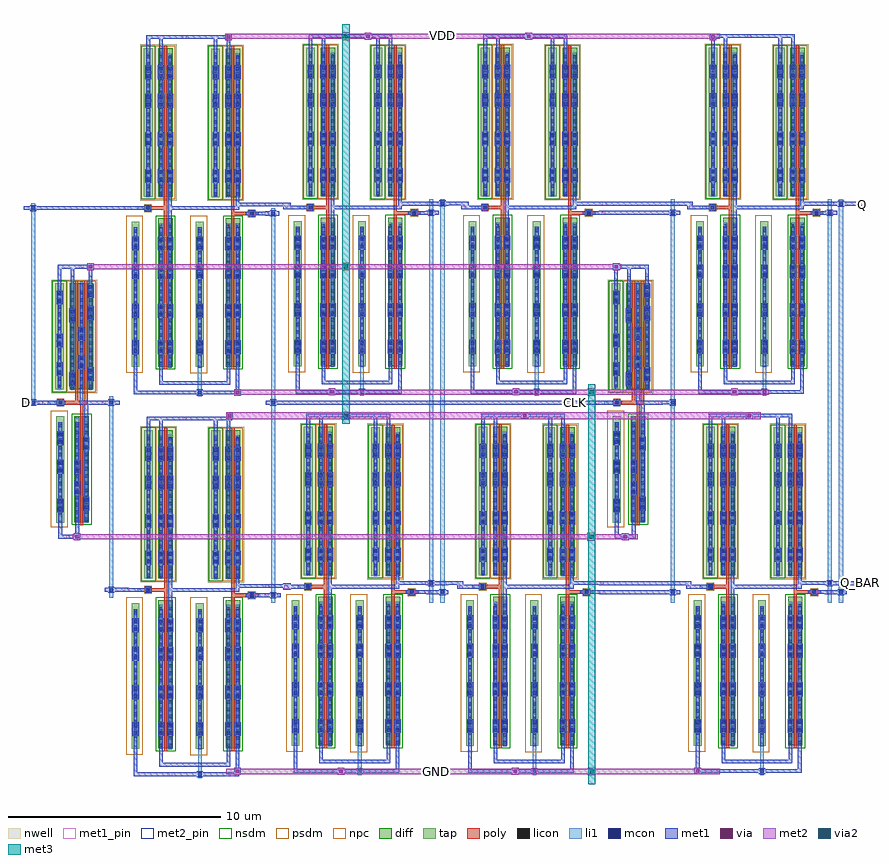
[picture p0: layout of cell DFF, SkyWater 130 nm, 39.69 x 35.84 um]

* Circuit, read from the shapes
.subckt DFF CLK D GND Q Q_BAR VDD
XM1 NAND_9/INP1 D GND GND sky130_fd_pr__nfet_01v8 w=5 l=0.15
XM2 NAND_6/INP1 D n1 GND sky130_fd_pr__nfet_01v8 w=7 l=0.15
XM3 NAND_8/INP1 NAND_9/INP1 n2 GND sky130_fd_pr__nfet_01v8 w=7 l=0.15
XM4 GND CLK n1 GND sky130_fd_pr__nfet_01v8 w=7 l=0.15
XM5 GND CLK n2 GND sky130_fd_pr__nfet_01v8 w=7 l=0.15
XM6 NAND_4/INP1 NAND_8/INP1 n3 GND sky130_fd_pr__nfet_01v8 w=7 l=0.15
XM7 NAND_5/INP1 NAND_6/INP1 n4 GND sky130_fd_pr__nfet_01v8 w=7 l=0.15
XM8 GND NAND_5/INP1 n3 GND sky130_fd_pr__nfet_01v8 w=7 l=0.15
XM9 GND NAND_4/INP1 n4 GND sky130_fd_pr__nfet_01v8 w=7 l=0.15
XM10 NAND_2/INP1 NAND_4/INP1 n5 GND sky130_fd_pr__nfet_01v8 w=7 l=0.15
XM11 NAND_3/INP1 NAND_5/INP1 n6 GND sky130_fd_pr__nfet_01v8 w=7 l=0.15
XM12 GND NAND_4/INP2 n5 GND sky130_fd_pr__nfet_01v8 w=7 l=0.15
XM13 GND NAND_4/INP2 n6 GND sky130_fd_pr__nfet_01v8 w=7 l=0.15
XM14 NAND_4/INP2 CLK GND GND sky130_fd_pr__nfet_01v8 w=5 l=0.15
XM15 Q_BAR NAND_2/INP1 n7 GND sky130_fd_pr__nfet_01v8 w=7 l=0.15
XM16 Q NAND_3/INP1 n8 GND sky130_fd_pr__nfet_01v8 w=7 l=0.15
XM17 GND Q n7 GND sky130_fd_pr__nfet_01v8 w=7 l=0.15
XM18 GND Q_BAR n8 GND sky130_fd_pr__nfet_01v8 w=7 l=0.15
XM19 NAND_9/INP1 D VDD VDD sky130_fd_pr__pfet_01v8 w=5 l=0.15 m=2
XM20 NAND_6/INP1 D VDD VDD sky130_fd_pr__pfet_01v8 w=7 l=0.15
XM21 NAND_8/INP1 NAND_9/INP1 VDD VDD sky130_fd_pr__pfet_01v8 w=7 l=0.15
XM22 NAND_6/INP1 CLK VDD VDD sky130_fd_pr__pfet_01v8 w=7 l=0.15
XM23 NAND_8/INP1 CLK VDD VDD sky130_fd_pr__pfet_01v8 w=7 l=0.15
XM24 NAND_4/INP1 NAND_8/INP1 VDD VDD sky130_fd_pr__pfet_01v8 w=7 l=0.15
XM25 NAND_5/INP1 NAND_6/INP1 VDD VDD sky130_fd_pr__pfet_01v8 w=7 l=0.15
XM26 NAND_4/INP1 NAND_5/INP1 VDD VDD sky130_fd_pr__pfet_01v8 w=7 l=0.15
XM27 NAND_5/INP1 NAND_4/INP1 VDD VDD sky130_fd_pr__pfet_01v8 w=7 l=0.15
XM28 NAND_2/INP1 NAND_4/INP1 VDD VDD sky130_fd_pr__pfet_01v8 w=7 l=0.15
XM29 NAND_3/INP1 NAND_5/INP1 VDD VDD sky130_fd_pr__pfet_01v8 w=7 l=0.15
XM30 NAND_2/INP1 NAND_4/INP2 VDD VDD sky130_fd_pr__pfet_01v8 w=7 l=0.15
XM31 NAND_3/INP1 NAND_4/INP2 VDD VDD sky130_fd_pr__pfet_01v8 w=7 l=0.15
XM32 NAND_4/INP2 CLK VDD VDD sky130_fd_pr__pfet_01v8 w=5 l=0.15 m=2
XM33 Q_BAR NAND_2/INP1 VDD VDD sky130_fd_pr__pfet_01v8 w=7 l=0.15
XM34 Q NAND_3/INP1 VDD VDD sky130_fd_pr__pfet_01v8 w=7 l=0.15
XM35 Q_BAR Q VDD VDD sky130_fd_pr__pfet_01v8 w=7 l=0.15
XM36 Q Q_BAR VDD VDD sky130_fd_pr__pfet_01v8 w=7 l=0.15
.ends

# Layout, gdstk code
from math import pi, radians
import gdstk
lib = gdstk.Library(unit=1e-6, precision=1e-09)
def R(c, l, rs):  # rectangles x0, y0, x1, y1
    for r in rs: c.add(gdstk.rectangle(r[:2], r[2:], *l))
def A(c, l, x, y, w, h, nx, ny, dx, dy):  # array of equal rectangles
    R(c, l, [(x+i*dx, y+j*dy, x+i*dx+w, y+j*dy+h) for i in range(nx) for j in range(ny)])
nwell = (64, 20)
diff = (65, 20)
tap = (65, 44)
poly = (66, 20)
licon = (66, 44)
li1 = (67, 20)
mcon = (67, 44)
met1_pin = (68, 16)
met1 = (68, 20)
via = (68, 44)
met2_pin = (69, 16)
met2 = (69, 20)
via2 = (69, 44)
met3 = (70, 20)
nsdm = (93, 44)
psdm = (94, 20)
npc = (95, 20)

dfl1sd_cdns_599788155192 = lib.new_cell('DFL1sd_CDNS_599788155192')
R(dfl1sd_cdns_599788155192, diff, [(0,0,0.265,5)])
A(dfl1sd_cdns_599788155192, licon, 0.055, 0.06, 0.17, 0.17, 1, 14, 0, 0.34)
R(dfl1sd_cdns_599788155192, li1, [(0.055,-0.02,0.225,4.73)])
R(dfl1sd_cdns_599788155192, nsdm, [(-0.125,-0.125,0.39,5.125)])

nfet_symbolic_cdns_59978 = lib.new_cell('nfet_symbolic_CDNS_599788155191')
R(nfet_symbolic_cdns_59978, diff, [(-0.25,0,0,5), (0,0,0.15,5), (0.15,0,0.4,5)])
R(nfet_symbolic_cdns_59978, poly, [(0,-0.13,0.15,5.13), (0,-0.13,0.15,0), (0,5,0.15,5.13)])
R(nfet_symbolic_cdns_59978, li1, [(-0.225,-0.02,-0.055,4.73), (0.205,-0.02,0.375,4.73)])
R(nfet_symbolic_cdns_59978, nsdm, [(-0.25,-0.125,0.4,5.125)])
nfet_symbolic_cdns_59978.add(gdstk.Reference(dfl1sd_cdns_599788155192, (0.15,0)))
nfet_symbolic_cdns_59978.add(gdstk.Reference(dfl1sd_cdns_599788155192, (0,0), rotation=pi, x_reflection=True))
nfet_symbolic_cdns_59978.add(gdstk.Label('D', (0.29,2.355), layer=83, texttype=44))
nfet_symbolic_cdns_59978.add(gdstk.Label('S', (-0.14,2.355), layer=83, texttype=44))

nfet_cdns_599788155190 = lib.new_cell('nfet_CDNS_599788155190')
nfet_cdns_599788155190.add(gdstk.Reference(nfet_symbolic_cdns_59978, (0,0)))

dfl1sd_cdns_599788155195 = lib.new_cell('DFL1sd_CDNS_599788155195')
R(dfl1sd_cdns_599788155195, nwell, [(-0.18,-0.18,0.445,5.18)])
R(dfl1sd_cdns_599788155195, diff, [(0,0,0.265,5)])
A(dfl1sd_cdns_599788155195, licon, 0.055, 0.06, 0.17, 0.17, 1, 14, 0, 0.34)
R(dfl1sd_cdns_599788155195, li1, [(0.055,-0.02,0.225,4.73)])
R(dfl1sd_cdns_599788155195, psdm, [(-0.125,-0.125,0.39,5.125)])

dfl1sd2_cdns_59978815519 = lib.new_cell('DFL1sd2_CDNS_599788155196')
R(dfl1sd2_cdns_59978815519, nwell, [(-0.18,-0.18,0.46,5.18)])
R(dfl1sd2_cdns_59978815519, diff, [(0,0,0.28,5)])
A(dfl1sd2_cdns_59978815519, licon, 0.055, 0.06, 0.17, 0.17, 1, 14, 0, 0.34)
R(dfl1sd2_cdns_59978815519, li1, [(0.055,-0.02,0.225,4.73)])
R(dfl1sd2_cdns_59978815519, psdm, [(-0.125,-0.125,0.405,5.125)])

pfet_symbolic_cdns_59978 = lib.new_cell('pfet_symbolic_CDNS_599788155194')
R(pfet_symbolic_cdns_59978, nwell, [(-0.445,-0.18,1.025,5.18)])
R(pfet_symbolic_cdns_59978, diff, [(-0.25,0,0,5), (0,0,0.15,5), (0.43,0,0.58,5), (0.58,0,0.83,5)])
R(pfet_symbolic_cdns_59978, poly, [(0,-0.13,0.15,5.13), (0,-0.13,0.15,0), (0.43,-0.13,0.58,5.13), (0.43,-0.13,0.58,0), (0,5,0.15,5.13), (0.43,5,0.58,5.13)])
A(pfet_symbolic_cdns_59978, li1, -0.225, -0.02, 0.17, 4.75, 3, 1, 0.43, 0)
R(pfet_symbolic_cdns_59978, psdm, [(-0.25,-0.125,0.15,5.125), (0.18,-0.125,0.83,5.125)])
pfet_symbolic_cdns_59978.add(gdstk.Reference(dfl1sd_cdns_599788155195, (0.58,0)))
pfet_symbolic_cdns_59978.add(gdstk.Reference(dfl1sd_cdns_599788155195, (0,0), rotation=pi, x_reflection=True))
pfet_symbolic_cdns_59978.add(gdstk.Reference(dfl1sd2_cdns_59978815519, (0.15,0)))
pfet_symbolic_cdns_59978.add(gdstk.Label('S', (0.72,2.355), layer=83, texttype=44))
pfet_symbolic_cdns_59978.add(gdstk.Label('D', (0.29,2.355), layer=83, texttype=44))
pfet_symbolic_cdns_59978.add(gdstk.Label('S', (-0.14,2.355), layer=83, texttype=44))

pfet_cdns_599788155193 = lib.new_cell('pfet_CDNS_599788155193')
R(pfet_cdns_599788155193, nwell, [(-1.125,-0.18,-0.445,5.18)])
R(pfet_cdns_599788155193, tap, [(-0.945,0,-0.535,5)])
A(pfet_cdns_599788155193, licon, -0.825, 0.06, 0.17, 0.17, 1, 14, 0, 0.34)
R(pfet_cdns_599788155193, li1, [(-0.825,-0.02,-0.655,4.73)])
R(pfet_cdns_599788155193, nsdm, [(-1.08,-0.125,-0.4,5.125)])
R(pfet_cdns_599788155193, psdm, [(-0.4,-0.125,-0.39,5.125)])
pfet_cdns_599788155193.add(gdstk.Reference(pfet_symbolic_cdns_59978, (0,0)))

l1m1_c_cdns_599788155190 = lib.new_cell('L1M1_C_CDNS_599788155190')
R(l1m1_c_cdns_599788155190, li1, [(-0.085,-0.085,0.085,0.085)])
R(l1m1_c_cdns_599788155190, mcon, [(-0.085,-0.085,0.085,0.085)])
R(l1m1_c_cdns_599788155190, met1, [(-0.145,-0.145,0.145,0.145)])

l1m1_c_cdns_599788155193 = lib.new_cell('L1M1_C_CDNS_599788155193')
R(l1m1_c_cdns_599788155193, li1, [(-0.085,-0.265,0.085,0.265)])
R(l1m1_c_cdns_599788155193, mcon, [(-0.085,-0.265,0.085,-0.095), (-0.085,0.095,0.085,0.265)])
R(l1m1_c_cdns_599788155193, met1, [(-0.145,-0.325,0.145,0.325)])

pyl1_c_cdns_599788155194 = lib.new_cell('PYL1_C_CDNS_599788155194')
R(pyl1_c_cdns_599788155194, poly, [(-0.165,-0.165,0.165,0.165)])
R(pyl1_c_cdns_599788155194, licon, [(-0.085,-0.085,0.085,0.085)])
R(pyl1_c_cdns_599788155194, li1, [(-0.165,-0.165,0.165,0.165)])
R(pyl1_c_cdns_599788155194, npc, [(-0.185,-0.185,0.185,0.185)])

inverter0 = lib.new_cell('Inverter0')
R(inverter0, tap, [(2.02,1.48,2.385,6.48)])
R(inverter0, poly, [(3.14,6.62,3.29,7.23), (2.005,7.035,3.495,7.23), (2.915,7.035,3.065,7.625), (3.345,7.035,3.495,7.625), (3.345,7.23,3.495,7.625)])
A(inverter0, licon, 2.12, 1.88, 0.17, 0.17, 1, 13, 0, 0.34)
R(inverter0, li1, [(2.12,1.505,2.29,6.21), (2.92,5.685,3.09,6.45), (3.34,5.685,3.51,6.45), (3.345,6.22,3.515,6.45), (1.615,7.035,2.435,7.23), (2.69,12.32,2.86,13.085), (3.115,12.32,3.285,12.83), (3.55,12.32,3.72,13.085)])
R(inverter0, met1_pin, [(2.485,0.725,2.65,0.885), (4.165,7.04,4.35,7.225), (1.19,7.05,1.385,7.225), (3.08,13.465,3.305,13.64)])
R(inverter0, met1, [(2.12,0.71,2.29,6.21), (2.12,0.71,3.09,0.905), (2.915,0.71,3.09,6.21), (3.345,1.51,3.515,7.23), (1.185,7.035,2.435,7.23), (3.12,7.035,4.37,7.23), (3.12,7.035,3.29,12.755), (2.69,7.73,2.86,13.645), (3.55,7.735,3.72,13.645), (2.09,7.875,2.26,13.645), (2.09,13.45,3.72,13.645)])
R(inverter0, psdm, [(1.765,1.265,2.555,6.76)])
inverter0.add(gdstk.Reference(nfet_cdns_599788155190, (3.14,1.49)))
inverter0.add(gdstk.Reference(pfet_cdns_599788155193, (2.915,7.755)))
inverter0.add(gdstk.Reference(l1m1_c_cdns_599788155190, (2.215,7.135)))
inverter0.add(gdstk.Reference(l1m1_c_cdns_599788155193, (2.175,12.09)))
inverter0.add(gdstk.Reference(l1m1_c_cdns_599788155193, (2.175,10.065)))
inverter0.add(gdstk.Reference(l1m1_c_cdns_599788155193, (2.175,8.72)))
inverter0.add(gdstk.Reference(l1m1_c_cdns_599788155193, (2.205,2.285)))
inverter0.add(gdstk.Reference(l1m1_c_cdns_599788155193, (2.205,4.105)))
inverter0.add(gdstk.Reference(l1m1_c_cdns_599788155193, (2.205,5.45)))
inverter0.add(gdstk.Reference(l1m1_c_cdns_599788155193, (2.775,8.24)))
inverter0.add(gdstk.Reference(l1m1_c_cdns_599788155193, (2.775,11.255)))
inverter0.add(gdstk.Reference(l1m1_c_cdns_599788155193, (3,3.105)))
inverter0.add(gdstk.Reference(l1m1_c_cdns_599788155193, (3,4.1)))
inverter0.add(gdstk.Reference(l1m1_c_cdns_599788155193, (3.205,9.05)))
inverter0.add(gdstk.Reference(l1m1_c_cdns_599788155193, (3.205,10.365)))
inverter0.add(gdstk.Reference(l1m1_c_cdns_599788155193, (3.425,5.205)))
inverter0.add(gdstk.Reference(l1m1_c_cdns_599788155193, (3.43,2.365)))
inverter0.add(gdstk.Reference(l1m1_c_cdns_599788155193, (3.635,11.35)))
inverter0.add(gdstk.Reference(l1m1_c_cdns_599788155193, (3.635,12.4)))
inverter0.add(gdstk.Reference(l1m1_c_cdns_599788155193, (3.64,8.47)))
inverter0.add(gdstk.Reference(pyl1_c_cdns_599788155194, (2.215,7.135)))
inverter0.add(gdstk.Label('VDD', (3.195,13.56), layer=68, texttype=20))
inverter0.add(gdstk.Label('INP', (1.3,7.12), layer=68, texttype=20))
inverter0.add(gdstk.Label('OUT', (4.25,7.16), layer=68, texttype=20))
inverter0.add(gdstk.Label('GND', (2.56,0.79), layer=68, texttype=20))

dfl1sd_cdns_599788155199 = lib.new_cell('DFL1sd_CDNS_599788155199')
R(dfl1sd_cdns_599788155199, nwell, [(-0.18,-0.18,0.445,7.18)])
R(dfl1sd_cdns_599788155199, diff, [(0,0,0.265,7)])
A(dfl1sd_cdns_599788155199, licon, 0.055, 0.06, 0.17, 0.17, 1, 20, 0, 0.34)
R(dfl1sd_cdns_599788155199, li1, [(0.055,-0.02,0.225,6.77)])
R(dfl1sd_cdns_599788155199, psdm, [(-0.125,-0.125,0.39,7.125)])

c_pfet_symbolic_cdns_59978 = lib.new_cell('pfet_symbolic_CDNS_599788155198')
R(c_pfet_symbolic_cdns_59978, nwell, [(-0.445,-0.18,0.595,7.18)])
R(c_pfet_symbolic_cdns_59978, diff, [(-0.25,0,0,7), (0,0,0.15,7), (0.15,0,0.4,7)])
R(c_pfet_symbolic_cdns_59978, poly, [(0,-0.13,0.15,7.13), (0,-0.13,0.15,0), (0,7,0.15,7.13)])
R(c_pfet_symbolic_cdns_59978, li1, [(-0.225,-0.02,-0.055,6.77), (0.205,-0.02,0.375,6.77)])
R(c_pfet_symbolic_cdns_59978, psdm, [(-0.25,-0.125,0.4,7.125)])
c_pfet_symbolic_cdns_59978.add(gdstk.Reference(dfl1sd_cdns_599788155199, (0.15,0)))
c_pfet_symbolic_cdns_59978.add(gdstk.Reference(dfl1sd_cdns_599788155199, (0,0), rotation=pi, x_reflection=True))
c_pfet_symbolic_cdns_59978.add(gdstk.Label('D', (0.29,3.375), layer=83, texttype=44))
c_pfet_symbolic_cdns_59978.add(gdstk.Label('S', (-0.14,3.375), layer=83, texttype=44))

pfet_cdns_599788155197 = lib.new_cell('pfet_CDNS_599788155197')
R(pfet_cdns_599788155197, nwell, [(-1.125,-0.18,-0.445,7.18)])
R(pfet_cdns_599788155197, tap, [(-0.945,0,-0.535,7)])
A(pfet_cdns_599788155197, licon, -0.825, 0.06, 0.17, 0.17, 1, 20, 0, 0.34)
R(pfet_cdns_599788155197, li1, [(-0.825,-0.02,-0.655,6.77)])
R(pfet_cdns_599788155197, nsdm, [(-1.08,-0.125,-0.4,7.125)])
R(pfet_cdns_599788155197, psdm, [(-0.4,-0.125,-0.39,7.125)])
pfet_cdns_599788155197.add(gdstk.Reference(c_pfet_symbolic_cdns_59978, (0,0)))

dfl1sd_cdns_599788155191 = lib.new_cell('DFL1sd_CDNS_5997881551912')
R(dfl1sd_cdns_599788155191, diff, [(0,0,0.265,7)])
A(dfl1sd_cdns_599788155191, licon, 0.055, 0.06, 0.17, 0.17, 1, 20, 0, 0.34)
R(dfl1sd_cdns_599788155191, li1, [(0.055,-0.02,0.225,6.77)])
R(dfl1sd_cdns_599788155191, nsdm, [(-0.125,-0.125,0.39,7.125)])

c_nfet_symbolic_cdns_59978 = lib.new_cell('nfet_symbolic_CDNS_5997881551911')
R(c_nfet_symbolic_cdns_59978, diff, [(-0.25,0,0,7), (0,0,0.15,7), (0.15,0,0.4,7)])
R(c_nfet_symbolic_cdns_59978, poly, [(0,-0.13,0.15,7.13), (0,-0.13,0.15,0), (0,7,0.15,7.13)])
R(c_nfet_symbolic_cdns_59978, li1, [(-0.225,-0.02,-0.055,6.77), (0.205,-0.02,0.375,6.77)])
R(c_nfet_symbolic_cdns_59978, nsdm, [(-0.25,-0.125,0.4,7.125)])
c_nfet_symbolic_cdns_59978.add(gdstk.Reference(dfl1sd_cdns_599788155191, (0.15,0)))
c_nfet_symbolic_cdns_59978.add(gdstk.Reference(dfl1sd_cdns_599788155191, (0,0), rotation=pi, x_reflection=True))
c_nfet_symbolic_cdns_59978.add(gdstk.Label('D', (0.29,3.375), layer=83, texttype=44))
c_nfet_symbolic_cdns_59978.add(gdstk.Label('S', (-0.14,3.375), layer=83, texttype=44))

nfet_cdns_5997881551910 = lib.new_cell('nfet_CDNS_5997881551910')
nfet_cdns_5997881551910.add(gdstk.Reference(c_nfet_symbolic_cdns_59978, (0,0)))

nand = lib.new_cell('NAND')
R(nand, tap, [(1.725,1.875,2.09,8.725), (4.755,1.875,5.12,8.725)])
R(nand, poly, [(3.255,9.015,3.405,9.665), (6.43,9.015,6.58,9.755), (6.58,9.025,7.715,9.195), (2.375,9.28,3.255,9.45), (3.255,9.665,3.405,9.77)])
A(nand, licon, 1.825, 2.395, 0.17, 0.17, 1, 5, 0, 0.34)
A(nand, licon, 4.855, 2.395, 0.17, 0.17, 1, 5, 0, 0.34)
A(nand, licon, 1.825, 4.125, 0.17, 0.17, 1, 13, 0, 0.34)
A(nand, licon, 4.855, 4.125, 0.17, 0.17, 1, 13, 0, 0.34)
R(nand, li1, [(4.855,0.485,5.025,8.455), (1.825,1.985,1.995,8.455), (7.115,9.025,7.705,9.195), (2.01,9.28,2.615,9.45)])
R(nand, met1_pin, [(3.405,0.585,3.64,0.755), (8.005,9.025,8.185,9.195), (1.39,9.28,1.57,9.445), (8.035,9.455,8.215,9.625), (4.14,17.355,4.33,17.525)])
R(nand, met1, [(1.825,0.585,6.805,0.755), (1.825,0.585,1.995,8.455), (6.635,0.585,6.805,8.455), (3.03,1.035,6.205,1.205), (3.03,1.035,3.2,8.455), (6.205,1.035,6.375,8.455), (3.46,1.845,3.63,9.45), (4.855,1.845,5.025,8.455), (7.115,9.025,8.185,9.195), (3.46,9.185,3.63,16.535), (1.39,9.28,2.615,9.45), (3.46,9.28,6.805,9.45), (6.635,9.28,6.805,16.535), (6.805,9.455,8.215,9.625), (2.43,9.925,2.6,17.525), (3.03,9.925,3.2,17.525), (5.605,9.925,5.775,17.525), (6.205,9.925,6.375,17.525), (2.43,17.355,6.375,17.525)])
R(nand, psdm, [(4.5,1.57,5.29,9.005), (1.47,1.59,2.26,9.005)])
nand.add(gdstk.Reference(pfet_cdns_599788155197, (6.43,9.885)))
nand.add(gdstk.Reference(pfet_cdns_599788155197, (3.255,9.9)))
nand.add(gdstk.Reference(nfet_cdns_5997881551910, (6.58,1.885), rotation=pi, x_reflection=True))
nand.add(gdstk.Reference(nfet_cdns_5997881551910, (3.255,1.885)))
nand.add(gdstk.Reference(l1m1_c_cdns_599788155193, (6.72,10.88)))
nand.add(gdstk.Reference(l1m1_c_cdns_599788155193, (6.72,15.775)))
nand.add(gdstk.Reference(l1m1_c_cdns_599788155193, (6.72,14.43)))
nand.add(gdstk.Reference(l1m1_c_cdns_599788155193, (6.72,12.61)))
nand.add(gdstk.Reference(l1m1_c_cdns_599788155193, (6.29,10.88)))
nand.add(gdstk.Reference(l1m1_c_cdns_599788155193, (6.29,15.775)))
nand.add(gdstk.Reference(l1m1_c_cdns_599788155193, (6.29,14.43)))
nand.add(gdstk.Reference(l1m1_c_cdns_599788155193, (6.29,12.61)))
nand.add(gdstk.Reference(l1m1_c_cdns_599788155193, (5.69,10.88)))
nand.add(gdstk.Reference(l1m1_c_cdns_599788155193, (5.69,15.775)))
nand.add(gdstk.Reference(l1m1_c_cdns_599788155193, (5.69,14.43)))
nand.add(gdstk.Reference(l1m1_c_cdns_599788155193, (5.69,12.61)))
nand.add(gdstk.Reference(l1m1_c_cdns_599788155193, (3.545,10.88)))
nand.add(gdstk.Reference(l1m1_c_cdns_599788155193, (3.545,15.775)))
nand.add(gdstk.Reference(l1m1_c_cdns_599788155193, (3.545,14.43)))
nand.add(gdstk.Reference(l1m1_c_cdns_599788155193, (3.545,12.61)))
nand.add(gdstk.Reference(l1m1_c_cdns_599788155193, (3.115,10.88)))
nand.add(gdstk.Reference(l1m1_c_cdns_599788155193, (3.115,15.775)))
nand.add(gdstk.Reference(l1m1_c_cdns_599788155193, (3.115,14.43)))
nand.add(gdstk.Reference(l1m1_c_cdns_599788155193, (3.115,12.61)))
nand.add(gdstk.Reference(l1m1_c_cdns_599788155193, (2.515,10.88)))
nand.add(gdstk.Reference(l1m1_c_cdns_599788155193, (2.515,15.775)))
nand.add(gdstk.Reference(l1m1_c_cdns_599788155193, (2.515,14.43)))
nand.add(gdstk.Reference(l1m1_c_cdns_599788155193, (2.515,12.61)))
nand.add(gdstk.Reference(l1m1_c_cdns_599788155193, (6.29,7.695), rotation=pi, x_reflection=True))
nand.add(gdstk.Reference(l1m1_c_cdns_599788155193, (6.29,6.35), rotation=pi, x_reflection=True))
nand.add(gdstk.Reference(l1m1_c_cdns_599788155193, (6.29,4.53), rotation=pi, x_reflection=True))
nand.add(gdstk.Reference(l1m1_c_cdns_599788155193, (6.29,2.8), rotation=pi, x_reflection=True))
nand.add(gdstk.Reference(l1m1_c_cdns_599788155193, (6.72,7.695), rotation=pi, x_reflection=True))
nand.add(gdstk.Reference(l1m1_c_cdns_599788155193, (6.72,6.35), rotation=pi, x_reflection=True))
nand.add(gdstk.Reference(l1m1_c_cdns_599788155193, (6.72,4.53), rotation=pi, x_reflection=True))
nand.add(gdstk.Reference(l1m1_c_cdns_599788155193, (6.72,2.8), rotation=pi, x_reflection=True))
nand.add(gdstk.Reference(l1m1_c_cdns_599788155193, (3.545,7.695)))
nand.add(gdstk.Reference(l1m1_c_cdns_599788155193, (3.545,6.35)))
nand.add(gdstk.Reference(l1m1_c_cdns_599788155193, (3.545,4.53)))
nand.add(gdstk.Reference(l1m1_c_cdns_599788155193, (3.545,2.8)))
nand.add(gdstk.Reference(l1m1_c_cdns_599788155193, (3.115,7.695)))
nand.add(gdstk.Reference(l1m1_c_cdns_599788155193, (3.115,6.35)))
nand.add(gdstk.Reference(l1m1_c_cdns_599788155193, (3.115,4.53)))
nand.add(gdstk.Reference(l1m1_c_cdns_599788155193, (3.115,2.8)))
nand.add(gdstk.Reference(l1m1_c_cdns_599788155193, (4.94,7.695)))
nand.add(gdstk.Reference(l1m1_c_cdns_599788155193, (4.94,6.35)))
nand.add(gdstk.Reference(l1m1_c_cdns_599788155193, (4.94,4.53)))
nand.add(gdstk.Reference(l1m1_c_cdns_599788155193, (4.94,2.8)))
nand.add(gdstk.Reference(l1m1_c_cdns_599788155193, (1.91,2.8)))
nand.add(gdstk.Reference(l1m1_c_cdns_599788155193, (1.91,7.695)))
nand.add(gdstk.Reference(l1m1_c_cdns_599788155193, (1.91,6.35)))
nand.add(gdstk.Reference(l1m1_c_cdns_599788155193, (1.91,4.53)))
nand.add(gdstk.Reference(pyl1_c_cdns_599788155194, (7.395,9.11), rotation=pi, x_reflection=True))
nand.add(gdstk.Reference(pyl1_c_cdns_599788155194, (2.5,9.365)))
nand.add(gdstk.Reference(l1m1_c_cdns_599788155190, (4.94,0.67)))
nand.add(gdstk.Reference(l1m1_c_cdns_599788155190, (7.395,9.11), rotation=pi, x_reflection=True))
nand.add(gdstk.Reference(l1m1_c_cdns_599788155190, (2.5,9.365)))
nand.add(gdstk.Label('GND', (3.515,0.685), layer=68, texttype=20))
nand.add(gdstk.Label('VDD', (4.235,17.455), layer=68, texttype=20))
nand.add(gdstk.Label('OUT', (8.14,9.565), layer=68, texttype=20))
nand.add(gdstk.Label('INP2', (8.105,9.12), layer=68, texttype=20))
nand.add(gdstk.Label('INP1', (1.47,9.37), layer=68, texttype=20))

m1m2_c_cdns_599788155191 = lib.new_cell('M1M2_C_CDNS_599788155191')
R(m1m2_c_cdns_599788155191, met1, [(-0.16,-0.16,0.16,0.16)])
R(m1m2_c_cdns_599788155191, via, [(-0.075,-0.075,0.075,0.075)])
R(m1m2_c_cdns_599788155191, met2, [(-0.16,-0.16,0.16,0.16)])

m2m3_c_cdns_599788155192 = lib.new_cell('M2M3_C_CDNS_599788155192')
R(m2m3_c_cdns_599788155192, met2, [(-0.185,-0.185,0.185,0.185)])
R(m2m3_c_cdns_599788155192, via2, [(-0.1,-0.1,0.1,0.1)])
R(m2m3_c_cdns_599788155192, met3, [(-0.165,-0.165,0.165,0.165)])

dff = lib.new_cell('DFF')
R(dff, li1, [(13.34,9.445,13.535,28.05), (20.79,9.445,20.985,28.46), (21.32,9.445,21.515,28.46), (32.18,9.445,32.375,28.46), (39.58,9.445,39.775,28.46), (40.11,9.445,40.305,28.46), (5.7,9.67,5.895,19.175), (2.025,18.78,2.22,28.285)])
R(dff, met1_pin, [(41.005,10.275,41.225,10.455), (27.555,18.78,27.785,18.975), (1.715,18.8,1.845,18.91), (41.145,28.155,41.35,28.34)])
R(dff, met1, [(13.08,9.7,13.79,9.895), (20.645,9.845,21.7,10.035), (28.81,9.845,32.62,10.035), (39.435,9.845,40.49,10.035), (5.495,9.95,6.615,10.145), (13.905,10.055,14.255,10.37), (22.125,10.11,22.4,10.45), (32.915,10.11,33.15,10.465), (13.065,10.145,14.145,10.315), (20.645,10.27,21.7,10.46), (39.435,10.27,41.235,10.46), (28.81,10.275,33.045,10.465), (21.61,10.28,22.4,10.45), (11.24,18.035,11.5,18.355), (1.67,18.78,2.575,18.975), (5.295,18.78,6.2,18.975), (13.08,18.78,28.71,18.975), (31.565,18.8,32.425,18.97), (13.065,27.7,13.715,27.89), (28.81,27.73,32.62,27.92), (20.645,27.735,21.23,27.925), (39.435,27.735,40.02,27.925), (1.675,27.965,6.605,28.135), (13.905,27.995,14.255,28.31), (22.295,27.995,22.645,28.345), (32.95,27.995,33.225,28.345), (13.065,28.14,14.08,28.31), (28.81,28.155,33.045,28.345), (39.435,28.155,41.355,28.345), (20.645,28.17,21.7,28.36), (21.61,28.175,22.47,28.345)])
R(dff, met2_pin, [(20.995,1.36,21.285,1.6), (21.27,36.025,21.56,36.27)])
R(dff, met2, [(11.23,1.36,34.495,1.605), (3.98,12.435,30.63,12.68), (11.24,18.085,36.42,18.43), (11.615,19.255,36.795,19.495), (4.675,25.165,29.855,25.41), (11.23,36.025,34.495,36.27)])
R(dff, met3, [(28.28,0.895,28.615,19.75), (16.7,17.875,17.035,36.73)])
dff.add(gdstk.Reference(inverter0, (27.43,11.745)))
dff.add(gdstk.Reference(inverter0, (1.19,11.745)))
dff.add(gdstk.Reference(nand, (31.545,0.83)))
dff.add(gdstk.Reference(nand, (31.655,18.715)))
dff.add(gdstk.Reference(nand, (20.81,0.83)))
dff.add(gdstk.Reference(nand, (20.92,18.715)))
dff.add(gdstk.Reference(nand, (12.685,18.715)))
dff.add(gdstk.Reference(nand, (5.03,18.685)))
dff.add(gdstk.Reference(nand, (12.575,0.83)))
dff.add(gdstk.Reference(nand, (5.035,0.685)))
dff.add(gdstk.Reference(l1m1_c_cdns_599788155190, (39.675,27.83)))
dff.add(gdstk.Reference(l1m1_c_cdns_599788155190, (40.21,9.94)))
dff.add(gdstk.Reference(l1m1_c_cdns_599788155190, (39.675,10.365)))
dff.add(gdstk.Reference(l1m1_c_cdns_599788155190, (40.21,28.25)))
dff.add(gdstk.Reference(l1m1_c_cdns_599788155190, (32.275,27.825)))
dff.add(gdstk.Reference(l1m1_c_cdns_599788155190, (32.275,9.94)))
dff.add(gdstk.Reference(l1m1_c_cdns_599788155190, (32.275,18.885)))
dff.add(gdstk.Reference(l1m1_c_cdns_599788155190, (20.885,27.83)))
dff.add(gdstk.Reference(l1m1_c_cdns_599788155190, (21.42,9.94)))
dff.add(gdstk.Reference(l1m1_c_cdns_599788155190, (20.885,10.365)))
dff.add(gdstk.Reference(l1m1_c_cdns_599788155190, (21.42,28.27)))
dff.add(gdstk.Reference(l1m1_c_cdns_599788155190, (13.44,9.8)))
dff.add(gdstk.Reference(l1m1_c_cdns_599788155190, (13.44,18.88)))
dff.add(gdstk.Reference(l1m1_c_cdns_599788155190, (13.435,27.8)))
dff.add(gdstk.Reference(l1m1_c_cdns_599788155190, (5.8,10.05)))
dff.add(gdstk.Reference(l1m1_c_cdns_599788155190, (5.8,18.885)))
dff.add(gdstk.Reference(l1m1_c_cdns_599788155190, (2.12,28.05)))
dff.add(gdstk.Reference(l1m1_c_cdns_599788155190, (2.12,18.88)))
dff.add(gdstk.Reference(m1m2_c_cdns_599788155191, (11.75,19.355)))
dff.add(gdstk.Reference(m1m2_c_cdns_599788155191, (16.205,19.385)))
dff.add(gdstk.Reference(m1m2_c_cdns_599788155191, (24.88,19.385)))
dff.add(gdstk.Reference(m1m2_c_cdns_599788155191, (35.185,19.385)))
dff.add(gdstk.Reference(m1m2_c_cdns_599788155191, (35.885,18.265)))
dff.add(gdstk.Reference(m1m2_c_cdns_599788155191, (25.295,18.27)))
dff.add(gdstk.Reference(m1m2_c_cdns_599788155191, (16.93,18.27)))
dff.add(gdstk.Reference(m1m2_c_cdns_599788155191, (11.375,18.25)))
dff.add(gdstk.Reference(m1m2_c_cdns_599788155191, (30.035,12.555)))
dff.add(gdstk.Reference(m1m2_c_cdns_599788155191, (4.185,12.555)))
dff.add(gdstk.Reference(m1m2_c_cdns_599788155191, (11.755,1.495)))
dff.add(gdstk.Reference(m1m2_c_cdns_599788155191, (16.635,1.495)))
dff.add(gdstk.Reference(m1m2_c_cdns_599788155191, (24.855,1.5)))
dff.add(gdstk.Reference(m1m2_c_cdns_599788155191, (33.455,1.505)))
dff.add(gdstk.Reference(m1m2_c_cdns_599788155191, (17.905,36.155)))
dff.add(gdstk.Reference(m1m2_c_cdns_599788155191, (25.48,36.155)))
dff.add(gdstk.Reference(m1m2_c_cdns_599788155191, (11.325,36.115)))
dff.add(gdstk.Reference(m1m2_c_cdns_599788155191, (34.17,36.12)))
dff.add(gdstk.Reference(m1m2_c_cdns_599788155191, (4.825,25.29)))
dff.add(gdstk.Reference(m1m2_c_cdns_599788155191, (29.605,25.285)))
dff.add(gdstk.Reference(m2m3_c_cdns_599788155192, (28.45,1.485)))
dff.add(gdstk.Reference(m2m3_c_cdns_599788155192, (28.44,12.555)))
dff.add(gdstk.Reference(m2m3_c_cdns_599788155192, (28.445,19.375)))
dff.add(gdstk.Reference(m2m3_c_cdns_599788155192, (16.865,25.295)))
dff.add(gdstk.Reference(m2m3_c_cdns_599788155192, (16.855,18.255)))
dff.add(gdstk.Reference(m2m3_c_cdns_599788155192, (16.865,36.15)))
dff.add(gdstk.Label('CLK', (27.675,18.885), layer=68, texttype=20))
dff.add(gdstk.Label('Q_BAR', (41.105,10.385), layer=68, texttype=20))
dff.add(gdstk.Label('Q', (41.24,28.235), layer=68, texttype=20))
dff.add(gdstk.Label('D', (1.78,18.86), layer=68, texttype=16))
dff.add(gdstk.Label('GND', (21.155,1.485), layer=69, texttype=20))
dff.add(gdstk.Label('VDD', (21.415,36.165), layer=69, texttype=20))

lib.write_gds('DFF.gds')
